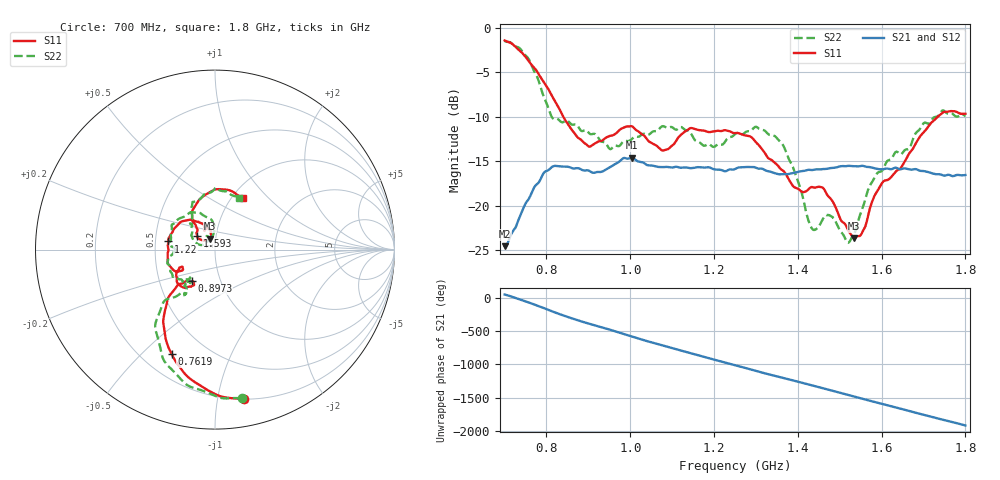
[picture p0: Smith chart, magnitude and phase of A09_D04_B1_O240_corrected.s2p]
! Created with skrf 1.9.0 (http://scikit-rf.org).
# Hz S RI R 50.0
!freq ReS11 ImS11 ReS21 ImS21 ReS12 ImS12 ReS22 ImS22
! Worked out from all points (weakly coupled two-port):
!   1601 points, 700 MHz to 1.8 GHz, reference 50 ohm
!   highest |S21| = -14.60 dB at 1.005 GHz (marker M1); lowest = -24.5 dB at 700.7 MHz (marker M2)
!   lowest |S11| = -23.6 dB at 1.535 GHz (marker M3), VSWR 1.14, Z = 47.1 + j5.67 ohm
!   |S11| at or under -10 dB: 840.1 MHz to 1.734 GHz (894.3 MHz wide, 69.5 % of centre)
!   |S22| runs from -24.2 to -1.5 dB; largest |S21 - S12| = 0.0034
!   S11 on the Smith chart (normalised r, x): 700 MHz: 0.20, -1.19; 761.9 MHz: 0.32, -0.62; 897.3 MHz: 0.73, -0.27; 1.22 GHz: 0.59, +0.06; 1.593 GHz: 0.81, +0.12; 1.8 GHz: 1.12, +0.73
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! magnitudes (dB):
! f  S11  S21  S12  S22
! 700 MHz  -1.4  -24.5  -24.3  -1.5
! 700.7 MHz  -1.5  -24.5  -24.2  -1.5
! 761.9 MHz  -4.0  -18.8  -18.8  -3.9
! 814.1 MHz  -7.8  -15.6  -15.6  -10.1
! 883.6 MHz  -12.6  -15.9  -15.8  -11.6
! 897.3 MHz  -13.2  -16.0  -16.1  -11.6
! 952.3 MHz  -12.1  -15.6  -15.6  -13.6
! 1.005 GHz  -11.1  -14.6  -14.8  -12.4
! 1.067 GHz  -13.4  -15.6  -15.6  -11.5
! 1.22 GHz  -11.6  -16.0  -16.1  -13.1
! 1.25 GHz  -11.8  -15.9  -15.8  -12.0
! 1.301 GHz  -12.9  -15.8  -15.7  -11.1
! 1.36 GHz  -15.9  -16.5  -16.5  -12.9
! 1.434 GHz  -17.9  -16.0  -15.9  -22.5
! 1.473 GHz  -18.9  -15.8  -15.8  -21.0
! 1.518 GHz  -22.5  -15.5  -15.5  -24.1
! 1.535 GHz  -23.6  -15.6  -15.6  -23.1
! 1.556 GHz  -22.8  -15.5  -15.5  -20.1
! 1.593 GHz  -18.1  -15.9  -15.9  -16.2
! 1.617 GHz  -17.0  -15.9  -15.8  -14.9
! 1.74 GHz  -9.7  -16.5  -16.5  -9.6
! 1.8 GHz  -9.7  -16.5  -16.5  -9.9
